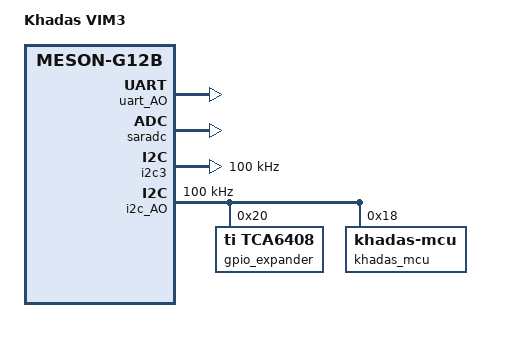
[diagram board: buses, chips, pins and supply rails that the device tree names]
// SPDX-License-Identifier: (GPL-2.0+ OR MIT)
/*
 * Khadas VIM3 (A311D / G12B)
 *
 * Derived from meson-g12b-a311d-w400.dts. This device tree is only used by
 * u-boot's driver model (pinctrl, mmc, i2c, ...); the kernel device tree is
 * loaded at runtime from the "dtb" partition, not from here.
 */

/dts-v1/;

#include "meson-g12b-a311d-w400.dtsi"
#include "meson-g12b_skt-panel.dtsi"

/ {
	compatible = "khadas,vim3", "amlogic,a311d", "amlogic,meson-g12b";
	model = "Khadas VIM3";
};

/* Brought out to the 40-pin GPIO header */
&uart_AO {
	status = "okay";
};

&saradc {
	status = "okay";
};

/*
 * i2c3 on GPIOA_14/GPIOA_15, alias i2c3. The vendor kernel leaves this
 * disabled, but u-boot needs it: the touch controller of the TS050/TS101
 * panels (0x38 / 0x5d), the M2X extension board's codec (0x10) and the MIPI
 * camera (0x0c) all live here, and "kbi check_panel"/"check_m2x" read them.
 * The 2015 bootloader bit-banged these two pins by hand for the same purpose.
 */
&i2c3 {
	status = "okay";
	clock-frequency = <100000>;
	pinctrl-names = "default";
	pinctrl-0 = <&i2c3_master_pins2>;
};

/*
 * AO i2c, alias i2c4 (see the aliases node in meson-g12b-a311d-w400.dtsi).
 * Carries the KBI MCU at 0x18 and the TCA6408 GPIO expander at 0x20 - see
 * &i2c_AO in the vendor kernel's kvim3.dts. Without this the "kbi" command
 * and tca6408_gpio_init() fail with -ENODEV.
 */
&i2c_AO {
	status = "okay";
	clock-frequency = <100000>;
	pinctrl-names = "default";
	pinctrl-0 = <&ao_i2c_master_pins1>;

	gpio_expander: gpio-controller@20 {
		compatible = "ti,tca6408";
		reg = <0x20>;
		gpio-controller;
		#gpio-cells = <2>;
	};

	khadas_mcu: khadas-mcu@18 {
		compatible = "khadas-mcu";
		reg = <0x18>;
	};
};

&pinctrl_periphs {
	bl_pwm_off_pins:bl_pwm_off_pin {
		mux {
			groups = "GPIOH_5";
			function = "gpio_periphs";
			output-high;
		};
	};
}; /* end of pinctrl_periphs */
